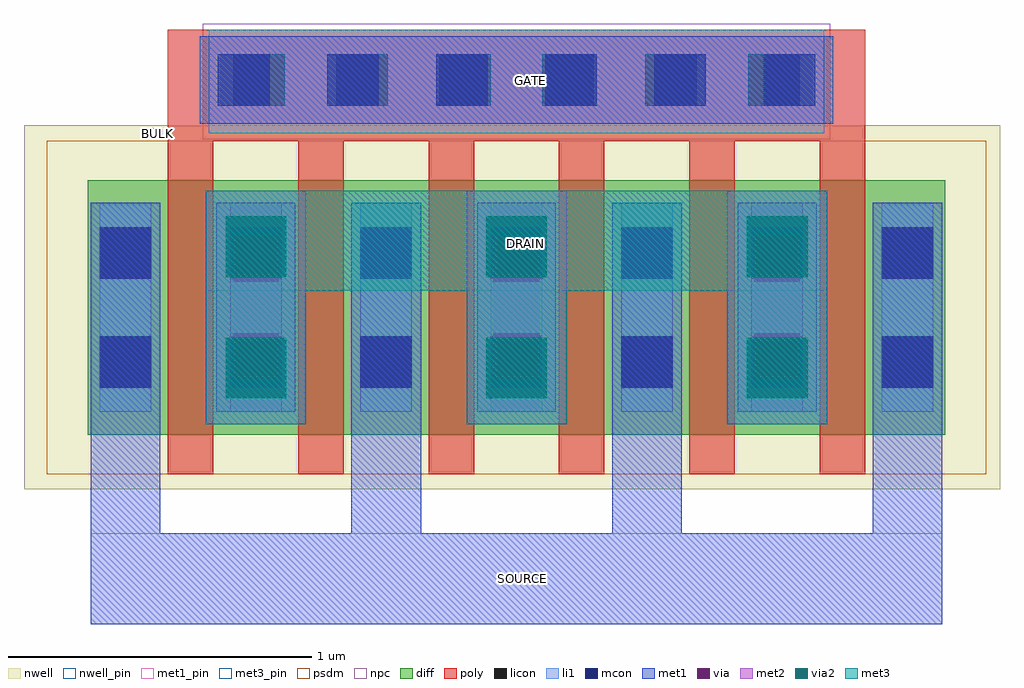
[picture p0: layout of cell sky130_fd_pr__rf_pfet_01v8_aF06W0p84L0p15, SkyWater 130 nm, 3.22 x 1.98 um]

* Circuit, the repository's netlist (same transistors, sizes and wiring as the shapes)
* Copyright 2020 The SkyWater PDK Authors
*
* Licensed under the Apache License, Version 2.0 (the "License");
* you may not use this file except in compliance with the License.
* You may obtain a copy of the License at
*
*     https://www.apache.org/licenses/LICENSE-2.0
*
* Unless required by applicable law or agreed to in writing, software
* distributed under the License is distributed on an "AS IS" BASIS,
* WITHOUT WARRANTIES OR CONDITIONS OF ANY KIND, either express or implied.
* See the License for the specific language governing permissions and
* limitations under the License.
*
* SPDX-License-Identifier: Apache-2.0


.subckt sky130_fd_pr__rf_pfet_01v8_aF06W0p84L0p15 BULK DRAIN GATE SOURCE
X0 SOURCE GATE DRAIN BULK sky130_fd_pr__pfet_01v8 w=840000u l=150000u
X1 DRAIN GATE SOURCE BULK sky130_fd_pr__pfet_01v8 w=840000u l=150000u
X2 SOURCE GATE DRAIN BULK sky130_fd_pr__pfet_01v8 w=840000u l=150000u
X3 DRAIN GATE SOURCE BULK sky130_fd_pr__pfet_01v8 w=840000u l=150000u
X4 SOURCE GATE DRAIN BULK sky130_fd_pr__pfet_01v8 w=840000u l=150000u
X5 DRAIN GATE SOURCE BULK sky130_fd_pr__pfet_01v8 w=840000u l=150000u
.ends

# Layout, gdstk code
import gdstk
lib = gdstk.Library(unit=1e-6, precision=1e-09)
def R(c, l, rs):  # rectangles x0, y0, x1, y1
    for r in rs: c.add(gdstk.rectangle(r[:2], r[2:], *l))
def A(c, l, x, y, w, h, nx, ny, dx, dy):  # array of equal rectangles
    R(c, l, [(x+i*dx, y+j*dy, x+i*dx+w, y+j*dy+h) for i in range(nx) for j in range(ny)])
nwell_pin = (64, 16)
nwell = (64, 20)
diff = (65, 20)
poly = (66, 20)
licon = (66, 44)
li1 = (67, 20)
mcon = (67, 44)
met1_pin = (68, 16)
met1 = (68, 20)
via = (68, 44)
met2 = (69, 20)
via2 = (69, 44)
met3_pin = (70, 16)
met3 = (70, 20)
psdm = (94, 20)
npc = (95, 20)

sky130_fd_pr__rf_pfet_01 = lib.new_cell('sky130_fd_pr__rf_pfet_01v8_aF06W0p84L0p15')
R(sky130_fd_pr__rf_pfet_01, nwell_pin, [(0.42,1.16,0.455,1.19)])
R(sky130_fd_pr__rf_pfet_01, nwell, [(0,0,3.22,1.2)])
A(sky130_fd_pr__rf_pfet_01, diff, 0.475, 0.18, 0.15, 0.84, 6, 1, 0.43, 0)
A(sky130_fd_pr__rf_pfet_01, diff, 1.055, 0.18, 0.28, 0.84, 3, 1, 0.43, 0)
R(sky130_fd_pr__rf_pfet_01, diff, [(0.21,0.18,0.475,1.02), (0.24,0.18,0.475,1.02), (0.625,0.18,0.905,1.02), (1.055,0.18,1.335,1.02), (1.085,0.18,1.335,1.02), (1.915,0.18,2.195,1.02), (1.945,0.18,2.195,1.02), (2.345,0.18,2.625,1.02), (2.775,0.18,3.04,1.02), (2.775,0.18,3.04,1.02), (2.805,0.18,3.04,1.02)])
A(sky130_fd_pr__rf_pfet_01, poly, 0.475, 0.05, 0.15, 1.1, 6, 1, 0.43, 0)
A(sky130_fd_pr__rf_pfet_01, poly, 0.475, 0.05, 0.15, 0.13, 6, 2, 0.43, 0.97)
R(sky130_fd_pr__rf_pfet_01, poly, [(0.475,1.15,2.775,1.515), (0.61,1.175,2.64,1.515)])
A(sky130_fd_pr__rf_pfet_01, licon, 0.25, 0.335, 0.17, 0.17, 7, 2, 0.43, 0.36)
A(sky130_fd_pr__rf_pfet_01, licon, 0.69, 1.265, 0.17, 0.17, 6, 1, 0.34, 0)
A(sky130_fd_pr__rf_pfet_01, li1, 0.25, 0.255, 0.17, 0.69, 7, 1, 0.43, 0)
R(sky130_fd_pr__rf_pfet_01, li1, [(0.61,1.175,2.64,1.515), (0.64,1.265,2.61,1.435)])
A(sky130_fd_pr__rf_pfet_01, mcon, 0.25, 0.335, 0.17, 0.17, 7, 2, 0.43, 0.36)
A(sky130_fd_pr__rf_pfet_01, mcon, 0.64, 1.265, 0.17, 0.17, 6, 1, 0.36, 0)
R(sky130_fd_pr__rf_pfet_01, met1_pin, [(0.22,-0.445,3.03,-0.145), (0.58,1.205,2.67,1.495)])
A(sky130_fd_pr__rf_pfet_01, met1, 0.635, 0.275, 0.26, 0.65, 3, 1, 0.86, 0)
R(sky130_fd_pr__rf_pfet_01, met1, [(0.58,1.205,2.67,1.495)])
A(sky130_fd_pr__rf_pfet_01, via, 0.69, 0.365, 0.15, 0.15, 3, 2, 0.86, 0.32)
A(sky130_fd_pr__rf_pfet_01, met2, 0.6, 0.215, 0.33, 0.77, 3, 1, 0.86, 0)
A(sky130_fd_pr__rf_pfet_01, met2, 0.635, 0.28, 0.26, 0.64, 3, 1, 0.86, 0)
A(sky130_fd_pr__rf_pfet_01, via2, 0.665, 0.3, 0.2, 0.2, 3, 2, 0.86, 0.4)
R(sky130_fd_pr__rf_pfet_01, met3_pin, [(0.6,0.655,2.65,0.985)])
A(sky130_fd_pr__rf_pfet_01, met3, 0.6, 0.215, 0.33, 0.77, 3, 1, 0.86, 0)
A(sky130_fd_pr__rf_pfet_01, psdm, 0.495, 0.05, 0.54, 1.1, 5, 1, 0.43, 0)
A(sky130_fd_pr__rf_pfet_01, psdm, 0.655, 0.05, 0.4, 1.1, 5, 1, 0.43, 0)
R(sky130_fd_pr__rf_pfet_01, psdm, [(0.075,0.05,0.605,1.15), (0.24,0.05,0.625,1.15), (2.645,0.05,3.175,1.15)])
R(sky130_fd_pr__rf_pfet_01, npc, [(0.59,1.155,2.66,1.535)])
sky130_fd_pr__rf_pfet_01.add(gdstk.FlexPath([(0.6,0.82),(2.65,0.82)], 0.33, ends="flush", simple_path=True, layer=70, datatype=20))  # met3
sky130_fd_pr__rf_pfet_01.add(gdstk.FlexPath([(2.915,0.945),(2.915,-0.445)], 0.23, ends="flush", simple_path=True, layer=68, datatype=20))  # met1
sky130_fd_pr__rf_pfet_01.add(gdstk.FlexPath([(2.055,0.945),(2.055,-0.445)], 0.23, ends="flush", simple_path=True, layer=68, datatype=20))  # met1
sky130_fd_pr__rf_pfet_01.add(gdstk.FlexPath([(0.22,-0.295),(3.03,-0.295)], 0.3, ends="flush", simple_path=True, layer=68, datatype=20))  # met1
sky130_fd_pr__rf_pfet_01.add(gdstk.FlexPath([(1.195,0.945),(1.195,-0.445)], 0.23, ends="flush", simple_path=True, layer=68, datatype=20))  # met1
sky130_fd_pr__rf_pfet_01.add(gdstk.FlexPath([(2.485,0.945),(2.485,0.255)], 0.26, ends="flush", simple_path=True, layer=68, datatype=20))  # met1
sky130_fd_pr__rf_pfet_01.add(gdstk.FlexPath([(1.625,0.945),(1.625,0.255)], 0.26, ends="flush", simple_path=True, layer=68, datatype=20))  # met1
sky130_fd_pr__rf_pfet_01.add(gdstk.FlexPath([(0.765,0.945),(0.765,0.255)], 0.26, ends="flush", simple_path=True, layer=68, datatype=20))  # met1
sky130_fd_pr__rf_pfet_01.add(gdstk.FlexPath([(0.335,0.945),(0.335,-0.445)], 0.23, ends="flush", simple_path=True, layer=68, datatype=20))  # met1
sky130_fd_pr__rf_pfet_01.add(gdstk.Label('DRAIN', (1.655,0.81), layer=70, texttype=16))
sky130_fd_pr__rf_pfet_01.add(gdstk.Label('SOURCE', (1.645,-0.295), layer=68, texttype=16))
sky130_fd_pr__rf_pfet_01.add(gdstk.Label('GATE', (1.67,1.35), layer=68, texttype=16))
sky130_fd_pr__rf_pfet_01.add(gdstk.Label('BULK', (0.44,1.175), layer=64, texttype=5))

lib.write_gds('sky130_fd_pr__rf_pfet_01v8_aF06W0p84L0p15.gds')
